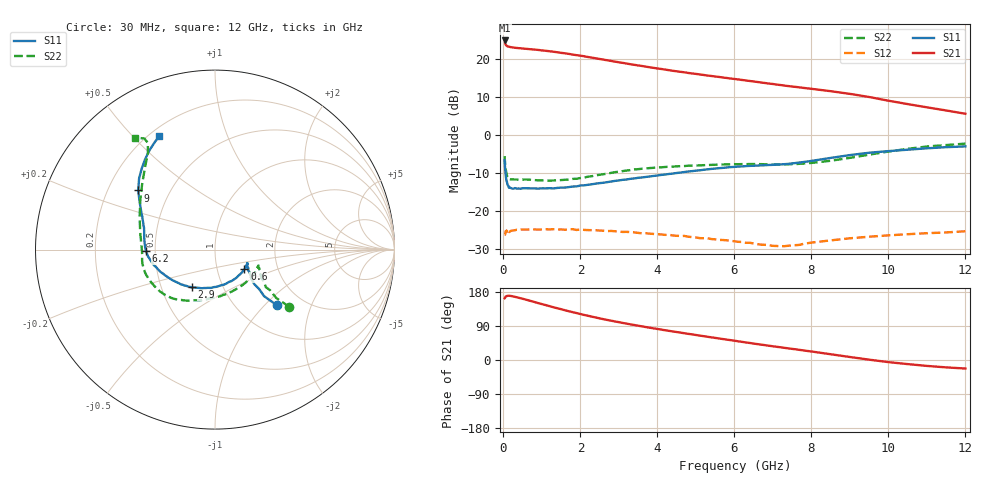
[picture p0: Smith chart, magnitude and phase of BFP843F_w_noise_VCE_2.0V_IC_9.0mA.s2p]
! Infineon Technologies  Discrete & RF Semiconductors
! BFP843F
! VCE =  2.0 V,  IC =  9.0 mA
! Common Emitter S-Parameters:  Aug 2013
# GHz  S  MA  R  50
!  f  S11  S21  S12  S22
! GHz  MAG  ANG  MAG  ANG  MAG  ANG  MAG  ANG
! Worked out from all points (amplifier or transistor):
!   103 points, 30 MHz to 12 GHz, reference 50 ohm
!   highest |S21| = 24.9 dB at 30 MHz (marker M1)
!   |S21| within 3 dB of that: start of sweep to 1.318 GHz
!   unconditionally stable (mu >= 1): 139.7 MHz to 987.8 MHz; 2.325 GHz to end of sweep
!   at 400 MHz: K = 1.01, MAG = 23.4 dB, |S12| = -25.1 dB
!   at 3.7 GHz: K = 1.11, MAG = 20.0 dB, |S12| = -26.0 dB
!   at 12 GHz: K = 1.33, MAG = 12.0 dB, |S12| = -25.4 dB
!   lowest NFmin = 0.79 dB at 450 MHz
!   S11 on the Smith chart (normalised r, x): 30 MHz: 1.49, -1.17; 600 MHz: 1.35, -0.31; 2.9 GHz: 0.71, -0.32; 6.2 GHz: 0.45, -0.01; 9 GHz: 0.33, +0.31; 12 GHz: 0.24, +0.60
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0.03  0.4622 -42.0  17.57 162.9  0.048 29.0  0.5232 -37.6
0.04  0.3768 -43.5  16.48 163.9  0.0481 22.9  0.4338 -38.3
0.05  0.3306 -41.8  15.75 166.5  0.0503 23.1  0.3812 -36.4
0.07  0.2636 -39.1  15.13 168.1  0.0531 15.4  0.3236 -32.9
0.15  0.204 -27.9  14.51 169.6  0.0522 8.3  0.2605 -22.6
0.6  0.1974 -33.7  13.61 158.8  0.0563 0.4  0.2573 -30.3
0.9  0.1954 -47.8  13.18 150.2  0.0562 -0.6  0.2509 -43.4
1.3  0.1964 -66.7  12.47 139.1  0.0569 -2.4  0.2501 -62.2
1.7  0.2045 -84.2  11.68 128.6  0.0566 -3.6  0.2565 -79.8
2.1  0.216 -99.7  10.86 118.8  0.0557 -5.9  0.2731 -96.1
2.5  0.2307 -112.1  10.01 109.8  0.0546 -7.6  0.2973 -108.4
2.9  0.2472 -121.7  9.238 101.7  0.0535 -8.5  0.3219 -117.8
3.5  0.2712 -134.5  8.223 90.5  0.0509 -10.3  0.3529 -128.5
4.1  0.2961 -146.1  7.387 80.2  0.0486 -11.6  0.3729 -137.1
5.1  0.3404 -162.8  6.254 64.4  0.0434 -11.1  0.395 -150.3
6.1  0.3815 -177.2  5.376 49.3  0.0388 -8.7  0.41 -163.6
6.2  0.3831 -178.9  5.288 47.8  0.0386 -8.5  0.4111 -165.0
7  0.4016 168.7  4.682 36.2  0.0343 -0.7  0.4062 -176.0
8.5  0.496 147.8  3.763 15.2  0.0405 14.9  0.4548 157.4
9  0.5402 142.4  3.469 7.9  0.0432 16.4  0.4968 147.0
10.5  0.6366 127.7  2.544 -10.8  0.0489 18.6  0.6538 124.9
12  0.7039 116.1  1.896 -22.5  0.0535 22.1  0.7655 125.4
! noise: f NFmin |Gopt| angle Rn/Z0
0.45  0.79  0.05  13  0.03
0.9  0.8  0.06  29  0.04
1.5  0.85  0.06  47  0.04
1.9  0.9  0.07  67  0.05
2.4  0.94  0.07  83  0.05
3.5  0.99  0.09  117  0.1
5.5  1.1  0.16  -180  0.17
10  1.68  0.36  -116  0.27
